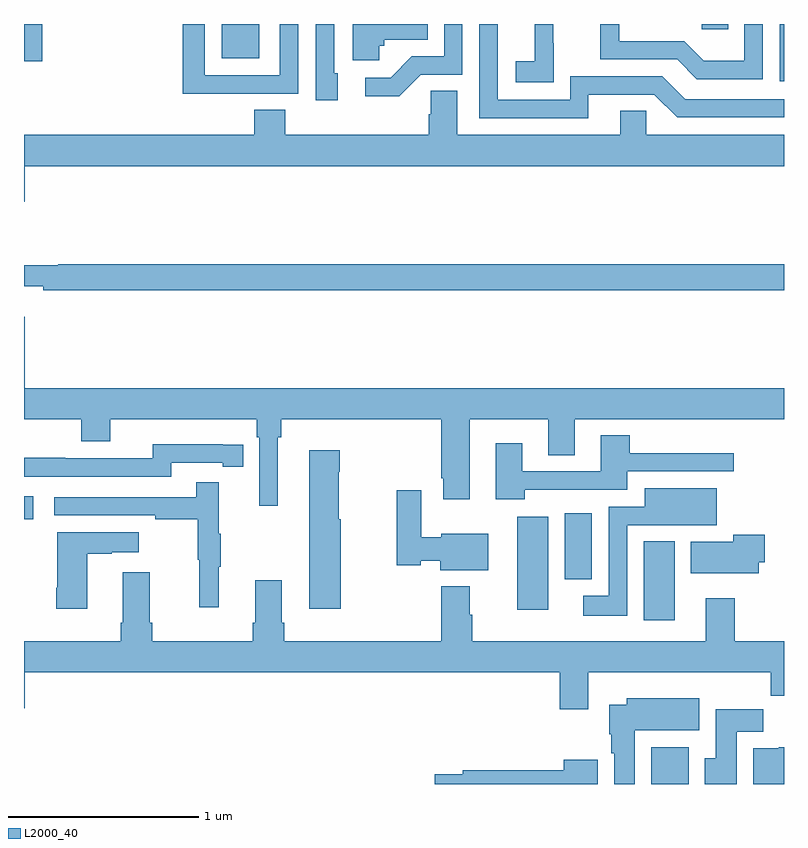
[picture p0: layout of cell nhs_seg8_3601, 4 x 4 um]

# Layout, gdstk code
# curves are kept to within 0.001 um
import gdstk
lib = gdstk.Library(unit=1e-6, precision=1e-09)
def R(c, l, rs):  # rectangles x0, y0, x1, y1
    for r in rs: c.add(gdstk.rectangle(r[:2], r[2:], *l))
def P(c, l, *ps):  # polygons
    for p in ps: c.add(gdstk.Polygon(p, *l))
L2000_40 = (2000, 40)

nhs_seg8_3601 = lib.new_cell('nhs_seg8_3601')
R(nhs_seg8_3601, L2000_40, [(336.302,1127.9,336.499,1128.094), (336.263,1128.762,336.424,1129.177), (335.597,1128.816,335.758,1129.306), (335.846,1128.977,335.989,1129.324), (333,1129.293,333.049,1129.414), (336.978,1131.6,337,1131.9), (333,1131.705,333.095,1131.9), (334.04,1131.719,334.237,1131.9), (336.567,1131.873,336.707,1131.9)])
P(nhs_seg8_3601, L2000_40, [(336.888,1131.9),(336.792,1131.9),(336.792,1131.706),(336.578,1131.706),(336.474,1131.81),(336.132,1131.81),(336.132,1131.9),(335.985,1131.899),(336.034,1131.899),(336.034,1131.714),(336.437,1131.714),(336.542,1131.609),(336.888,1131.609)],
  [(334.869,1131.786),(334.896,1131.786),(334.896,1131.818),(335.126,1131.818),(335.126,1131.9),(334.73,1131.9),(334.73,1131.71),(334.869,1131.71)],
  [(335.787,1131.799),(335.786,1131.799),(335.786,1131.9),(335.687,1131.9),(335.687,1131.703),(335.589,1131.703),(335.589,1131.593),(335.787,1131.593)],
  [(335.088,1131.633),(335.307,1131.633),(335.307,1131.9),(335.211,1131.9),(335.211,1131.729),(335.042,1131.729),(334.931,1131.618),(334.797,1131.618),(334.797,1131.521),(334.975,1131.521)],
  [(334.127,1131.534),(334.443,1131.534),(334.443,1131.9),(334.347,1131.9),(334.347,1131.63),(333.951,1131.63),(333.951,1131.9),(333.835,1131.9),(333.835,1131.533),(334.127,1131.533)],
  [(335.971,1131.528),(336.318,1131.528),(336.438,1131.408),(337,1131.408),(337,1131.504),(336.48,1131.504),(336.36,1131.624),(335.874,1131.624),(335.874,1131.501),(335.493,1131.501),(335.493,1131.9),(335.397,1131.9),(335.397,1131.405),(335.971,1131.405)],
  [(334.651,1131.642),(334.632,1131.642),(334.632,1131.9),(334.536,1131.9),(334.536,1131.498),(334.651,1131.498)],
  [(333.004,1131.152),(337,1131.152),(337,1131.316),(336.276,1131.316),(336.276,1131.443),(336.137,1131.443),(336.137,1131.316),(335.281,1131.316),(335.281,1131.548),(335.142,1131.548),(335.142,1131.425),(335.129,1131.425),(335.129,1131.316),(334.376,1131.316),(334.376,1131.449),(334.211,1131.449),(334.211,1131.316),(333,1131.316),(333,1130.964),(333.004,1130.964)],
  [(337,1130.636),(333.179,1130.636),(333.179,1130.629),(333,1130.629),(333,1130.519),(333.1,1130.519),(333.1,1130.5),(337,1130.5)],
  [(334.336,1129.724),(334.355,1129.724),(334.355,1129.82),(335.195,1129.82),(335.195,1129.51),(335.207,1129.51),(335.207,1129.398),(335.347,1129.398),(335.347,1129.82),(335.759,1129.82),(335.759,1129.63),(335.899,1129.63),(335.899,1129.82),(337,1129.82),(337,1129.984),(333.004,1129.984),(333.004,1130.359),(333,1130.359),(333,1129.82),(333.302,1129.82),(333.302,1129.703),(333.454,1129.703),(333.454,1129.82),(334.226,1129.82),(334.226,1129.724),(334.239,1129.724),(334.239,1129.365),(334.336,1129.365)],
  [(335.636,1129.449),(336.175,1129.449),(336.175,1129.545),(336.736,1129.545),(336.736,1129.642),(336.188,1129.642),(336.188,1129.735),(336.035,1129.735),(336.035,1129.545),(335.623,1129.545),(335.623,1129.693),(335.483,1129.693),(335.483,1129.398),(335.636,1129.398)],
  [(333.774,1129.59),(334.046,1129.59),(334.046,1129.57),(334.154,1129.57),(334.154,1129.686),(334.046,1129.686),(334.046,1129.687),(333.678,1129.687),(333.678,1129.614),(333.218,1129.614),(333.218,1129.616),(333,1129.616),(333,1129.518),(333.774,1129.518)],
  [(334.666,1129.293),(334.656,1129.293),(334.656,1129.544),(334.661,1129.544),(334.661,1129.657),(334.502,1129.657),(334.502,1128.822),(334.666,1128.822)],
  [(334.025,1129.043),(334.036,1129.043),(334.036,1129.217),(334.025,1129.217),(334.025,1129.489),(333.907,1129.489),(333.907,1129.41),(333.159,1129.41),(333.159,1129.314),(333.691,1129.314),(333.691,1129.294),(333.915,1129.294),(333.915,1129.08),(333.922,1129.08),(333.922,1128.831),(334.025,1128.831)],
  [(336.174,1129.263),(336.42,1129.263),(336.42,1129.262),(336.646,1129.262),(336.646,1129.456),(336.266,1129.456),(336.266,1129.359),(336.078,1129.359),(336.078,1128.892),(335.943,1128.892),(335.943,1128.785),(336.174,1128.785)],
  [(335.443,1129.216),(335.196,1129.216),(335.196,1129.198),(335.092,1129.198),(335.092,1129.447),(334.963,1129.447),(334.963,1129.051),(335.088,1129.051),(335.088,1129.076),(335.192,1129.076),(335.192,1129.025),(335.443,1129.025)],
  [(333.334,1129.111),(333.461,1129.111),(333.461,1129.121),(333.604,1129.121),(333.604,1129.225),(333.176,1129.225),(333.176,1128.934),(333.169,1128.934),(333.169,1128.822),(333.334,1128.822)],
  [(336.868,1129.068),(336.899,1129.068),(336.899,1129.212),(336.732,1129.212),(336.732,1129.174),(336.509,1129.174),(336.509,1129.01),(336.868,1129.01)],
  [(335.971,1128.488),(336.931,1128.488),(336.931,1128.364),(337,1128.364),(337,1128.652),(336.74,1128.652),(336.74,1128.877),(336.587,1128.877),(336.587,1128.652),(335.36,1128.652),(335.36,1128.791),(335.347,1128.791),(335.347,1128.94),(335.195,1128.94),(335.195,1128.652),(334.37,1128.652),(334.37,1128.748),(334.357,1128.748),(334.357,1128.973),(334.217,1128.973),(334.217,1128.748),(334.205,1128.748),(334.205,1128.652),(333.674,1128.652),(333.674,1128.748),(333.661,1128.748),(333.661,1129.015),(333.521,1129.015),(333.521,1128.748),(333.509,1128.748),(333.509,1128.652),(333,1128.652),(333,1128.3),(333.004,1128.3),(333.004,1128.488),(335.819,1128.488),(335.819,1128.294),(335.971,1128.294)],
  [(336.214,1128.182),(336.553,1128.182),(336.553,1128.352),(336.173,1128.352),(336.173,1128.316),(336.08,1128.316),(336.08,1128.162),(336.092,1128.162),(336.092,1128.062),(336.107,1128.062),(336.107,1127.9),(336.214,1127.9)],
  [(336.751,1128.176),(336.89,1128.176),(336.89,1128.294),(336.641,1128.294),(336.641,1128.036),(336.584,1128.036),(336.584,1127.9),(336.751,1127.9)],
  [(337,1128.094),(336.972,1128.094),(336.972,1128.088),(336.839,1128.088),(336.839,1127.9),(337,1127.9)],
  [(336.019,1128.028),(335.84,1128.028),(335.84,1127.972),(335.308,1127.972),(335.308,1127.952),(335.162,1127.952),(335.162,1127.9),(336.019,1127.9)])

lib.write_gds('nhs_seg8_3601.gds')
